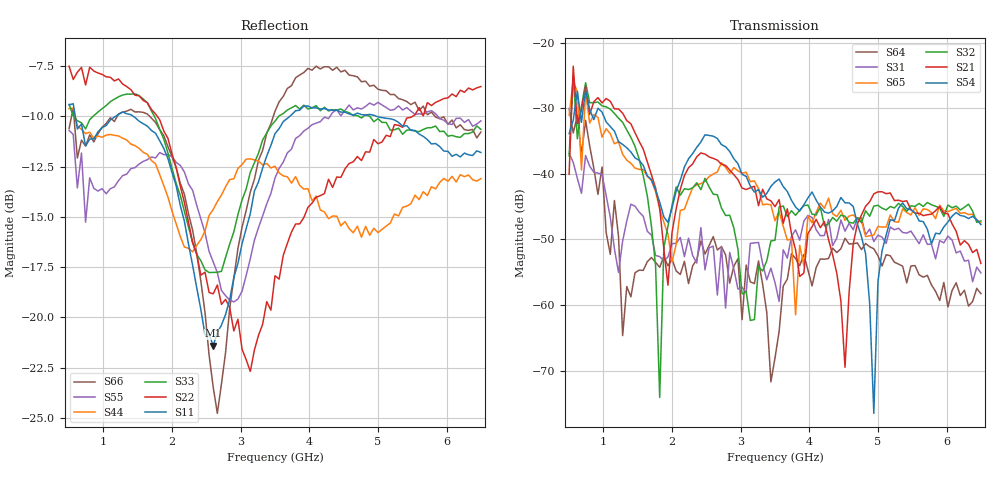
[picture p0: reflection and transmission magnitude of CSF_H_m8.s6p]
!Keysight Technologies,M9804A,MY58100912,A.14.10.03
!Date: Thursday, April 27, 2023 10:28:33
!Correction: S11(C  6-Port  )
!S12(C  6-Port  )
!S13(C  6-Port  )
!S14(C  6-Port  )
!S15(C  6-Port  )
!S16(C  6-Port  )
!S21(C  6-Port  )
!S22(C  6-Port  )
!S23(C  6-Port  )
!S24(C  6-Port  )
!S25(C  6-Port  )
!S26(C  6-Port  )
!S31(C  6-Port  )
!S32(C  6-Port  )
!S33(C  6-Port  )
!S34(C  6-Port  )
!S35(C  6-Port  )
!S36(C  6-Port  )
!S41(C  6-Port  )
!S42(C  6-Port  )
!S43(C  6-Port  )
!S44(C  6-Port  )
!S45(C  6-Port  )
!S46(C  6-Port  )
!S51(C  6-Port  )
!S52(C  6-Port  )
!S53(C  6-Port  )
!S54(C  6-Port  )
!S55(C  6-Port  )
!S56(C  6-Port  )
!S61(C  6-Port  )
!S62(C  6-Port  )
!S63(C  6-Port  )
!S64(C  6-Port  )
!S65(C  6-Port  )
!S66(C  6-Port  )
!S6P File: Measurement: :
# Hz S  RI  R 50
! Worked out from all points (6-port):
!   101 points, 500 MHz to 6.5 GHz, reference 50 ohm
!   strongest paths, dB at 500 MHz, 2 GHz, 3.5 GHz, 5 GHz, 6.5 GHz:
!     S54: -33.9, -45.2, -41.2, -56.4, -47.7
!     S21: -40.1, -48.9, -45.0, -42.7, -53.7
!     S32: -37.3, -44.8, -50.1, -44.8, -47.2
!     S65: -31.1, -53.4, -47.2, -48.0, -47.5
!     S31: -36.9, -50.6, -56.6, -49.3, -55.1
!     S64: -30.0, -53.0, -68.1, -52.5, -58.3
!   lowest |S11| = -21.4 dB at 2.6 GHz (marker M1), VSWR 1.19, Z = 42.4 + j2.19 ohm
!   |S11| at or under -10 dB: 590 MHz to 1.177 GHz (586.6 MHz wide, 66.4 % of centre); 1.436 GHz to 3.715 GHz (2.279 GHz wide, 88.5 % of centre); 4.981 GHz to end of sweep
